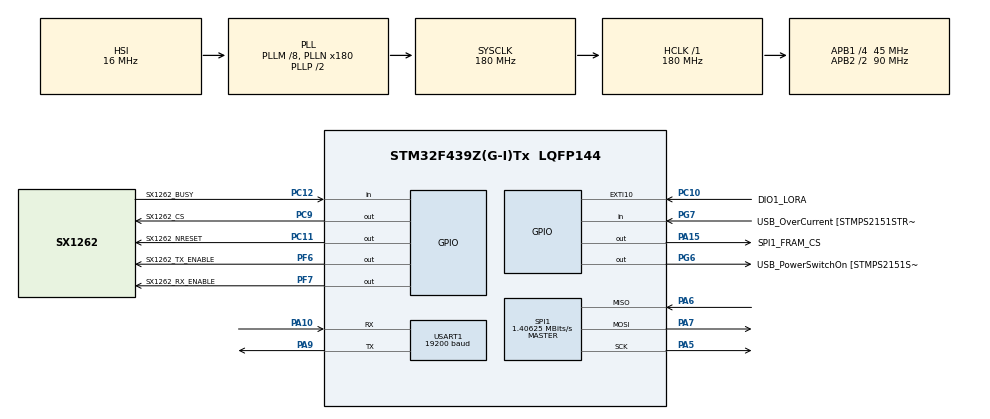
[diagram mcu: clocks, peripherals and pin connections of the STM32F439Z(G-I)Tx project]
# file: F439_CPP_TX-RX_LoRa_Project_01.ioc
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CRYP.Algorithm=CRYP_AES_CTR
CRYP.DataType=CRYP_DATATYPE_32B
CRYP.DataWidthUnit=CRYP_DATAWIDTHUNIT_BYTE
Mcu.Family=STM32F4
Mcu.Name=STM32F439Z(G-I)Tx
Mcu.Package=LQFP144
NVIC.EXTI15_10_IRQn=true\:0\:0\:false\:false\:true\:true\:true\:true
NVIC.PriorityGroup=NVIC_PRIORITYGROUP_4
PA10.Mode=Asynchronous
PA10.Signal=USART1_RX
PA15.GPIO_Label=SPI1_FRAM_CS
PA15.GPIO_PuPd=GPIO_PULLUP
PA15.GPIO_Speed=GPIO_SPEED_FREQ_VERY_HIGH
PA15.Signal=GPIO_Output
PA5.Mode=Full_Duplex_Master
PA5.Signal=SPI1_SCK
PA6.GPIO_PuPd=GPIO_NOPULL
PA6.Mode=Full_Duplex_Master
PA6.Signal=SPI1_MISO
PA7.Mode=Full_Duplex_Master
PA7.Signal=SPI1_MOSI
PA9.Mode=Asynchronous
PA9.Signal=USART1_TX
PC10.GPIO_Label=DIO1_LORA
PC10.Signal=GPXTI10
PC11.GPIO_Label=SX1262_NRESET
PC11.GPIO_PuPd=GPIO_NOPULL
PC11.GPIO_Speed=GPIO_SPEED_FREQ_VERY_HIGH
PC11.PinState=GPIO_PIN_SET
PC11.Signal=GPIO_Output
PC12.GPIO_Label=SX1262_BUSY
PC12.Signal=GPIO_Input
PC14/OSC32_IN.Mode=LSE-External-Oscillator
PC14/OSC32_IN.Signal=RCC_OSC32_IN
PC15/OSC32_OUT.Mode=LSE-External-Oscillator
PC15/OSC32_OUT.Signal=RCC_OSC32_OUT
PC9.GPIO_Label=SX1262_CS
PC9.GPIO_PuPd=GPIO_PULLUP
PC9.GPIO_Speed=GPIO_SPEED_FREQ_VERY_HIGH
PC9.Signal=GPIO_Output
PF6.GPIO_Label=SX1262_TX_ENABLE
PF6.GPIO_Speed=GPIO_SPEED_FREQ_VERY_HIGH
PF6.Signal=GPIO_Output
PF7.GPIO_Label=SX1262_RX_ENABLE
PF7.GPIO_Speed=GPIO_SPEED_FREQ_VERY_HIGH
PF7.Signal=GPIO_Output
PG6.GPIO_Label=USB_PowerSwitchOn [STMPS2151STR_EN]
PG6.Signal=GPIO_Output
PG7.GPIO_Label=USB_OverCurrent [STMPS2151STR_FAULT]
PG7.Signal=GPIO_Input
PH0/OSC_IN.GPIO_Label=MCO [STM32F103CBT6_PA8]
PH0/OSC_IN.Mode=HSE-External-Oscillator
PH0/OSC_IN.Signal=RCC_OSC_IN
PH1/OSC_OUT.Mode=HSE-External-Oscillator
PH1/OSC_OUT.Signal=RCC_OSC_OUT
ProjectManager.HeapSize=0x200
ProjectManager.StackSize=0x400
ProjectManager.TargetToolchain=STM32CubeIDE
RCC.48MHZClocksFreq_Value=90000000
RCC.AHBFreq_Value=180000000
RCC.APB1CLKDivider=RCC_HCLK_DIV4
RCC.APB1Freq_Value=45000000
RCC.APB1TimFreq_Value=90000000
RCC.APB2CLKDivider=RCC_HCLK_DIV2
RCC.APB2Freq_Value=90000000
RCC.APB2TimFreq_Value=180000000
RCC.CortexFreq_Value=180000000
RCC.HCLKFreq_Value=180000000
RCC.HSE_VALUE=8000000
RCC.HSI_VALUE=16000000
RCC.PLLM=8
RCC.PLLMUL=RCC_PLL_MUL9
RCC.PLLN=180
RCC.PRESCALERUSB=RCC_USBCLKSOURCE_PLL_DIV1_5
RCC.SYSCLKFreq_VALUE=180000000
RCC.SYSCLKSource=RCC_SYSCLKSOURCE_PLLCLK
RCC.SYSCLKSourceVirtual=RCC_SYSCLKSOURCE_PLLCLK
RCC.USBFreq_Value=48000000
RCC.VCOOutputFreq_Value=360000000
SPI1.BaudRatePrescaler=SPI_BAUDRATEPRESCALER_64
SPI1.CLKPhase=SPI_PHASE_1EDGE
SPI1.CLKPolarity=SPI_POLARITY_LOW
SPI1.CalculateBaudRate=1.40625 MBits/s
SPI1.Direction=SPI_DIRECTION_2LINES
SPI1.Mode=SPI_MODE_MASTER
SPI1.VirtualType=VM_MASTER
TIM3.Prescaler=90 - 1
USART1.BaudRate=19200
USART1.VirtualMode=VM_ASYNC
VP_CRYP_VS_CRYP.Mode=CRYP_Activate
VP_TIM3_VS_ClockSourceINT.Mode=Internal
board=NUCLEO-F439ZI

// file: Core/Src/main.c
/* USER CODE BEGIN Header */
/**
  ******************************************************************************
  * @file           : main.c
  * @brief          : Main program body
  ******************************************************************************
  * @attention
  *
  * Copyright (c) 2026 STMicroelectronics.
  * All rights reserved.
  *
  * This software is licensed under terms that can be found in the LICENSE file
  * in the root directory of this software component.
  * If no LICENSE file comes with this software, it is provided AS-IS.
  *
  ******************************************************************************
  */
/* USER CODE END Header */
#include "main.h"

/* USER CODE BEGIN Includes */
#include "sx1262.h"
#include "radio_app.h"
#include <sys/unistd.h>
#include <stdio.h>
#include <string.h>
#include "ada1897_mb85rs64b.h"
/* USER CODE END Includes */

CRYP_HandleTypeDef hcryp;
__ALIGN_BEGIN static const uint32_t pKeyCRYP[4] __ALIGN_END = {
                            0x00000000,0x00000000,0x00000000,0x00000000};
__ALIGN_BEGIN static const uint32_t pInitVectCRYP[4] __ALIGN_END = {
                            0x00000000,0x00000000,0x00000000,0x00000000};

SPI_HandleTypeDef hspi1;

TIM_HandleTypeDef htim3;

UART_HandleTypeDef huart1;

/* USER CODE BEGIN PV */
SX1262_Handle sx;
SX1262_ROLE sx1262Role;
/* USER CODE END PV */

void SystemClock_Config(void);
static void MX_GPIO_Init(void);
static void MX_SPI1_Init(void);
static void MX_USART1_UART_Init(void);
static void MX_TIM3_Init(void);
static void MX_CRYP_Init(void);

/* USER CODE BEGIN 0 */

int _write(int file, char *ptr, int len) {
    (void)file;

    if (ptr == NULL || len <= 0) {
        return 0;
    }

    /*
     * 19200 8N1 ≈ 1.92 bytes/ms, so ms ≈ len/2.
     * Clamp so printf can't stall the main loop for seconds.
     */
    uint32_t timeout = (uint32_t)(len / 2);
    if (timeout < 10U) {
        timeout = 10U;
    }
    if (timeout > 300U) {
        timeout = 300U;
    }

    if (HAL_UART_Transmit(&huart1, (uint8_t *)ptr, (uint16_t)len, timeout) != HAL_OK) {
        return 0;
    }

    return len;
}

void HAL_GPIO_EXTI_Callback(uint16_t pin) {
    RadioApp_OnDio1Exti(pin);
}

void delay_us (uint16_t us)
{
	__HAL_TIM_SET_COUNTER(&htim3, 0);  // set the counter value a 0
	while (__HAL_TIM_GET_COUNTER(&htim3) < us);  // wait for the counter to reach the us input in the parameter
}

/* USER CODE END 0 */

int main(void)
{

  /* MCU Configuration--------------------------------------------------------*/

  /* Reset of all peripherals, Initializes the Flash interface and the Systick. */
  HAL_Init();

  /* Configure the system clock */
  SystemClock_Config();

  /* Initialize all configured peripherals */
  MX_GPIO_Init();
  MX_SPI1_Init();
  MX_USART1_UART_Init();
  MX_TIM3_Init();
  MX_CRYP_Init();
  /* USER CODE BEGIN 2 */

  HAL_TIM_Base_Start_IT(&htim3);  // start the Timer3

  FRAM_init(&hspi1);

  printf("\x1b[2J\x1b[H");	// Clear the dumb terminal screen

#ifdef FRAM_INIT_EPOCH
	/* One-time init: clear storage region (start of FRAM map). */
	static uint8_t zeros[FRAM_INIT_BYTES];

	memset(zeros, 0x00, sizeof(zeros));
	FRAM_WriteBytes(FRAM_BASE_ADDR, zeros, sizeof(zeros));

	while(1) {};
#endif

  /* TODO: Fill these in from your UART prints (one-time) */
  const uint32_t RX_UID0 = 0x00280024U;
  const uint32_t RX_UID1 = 0x3133510aU;
  const uint32_t RX_UID2 = 0x36393739U;

  const uint32_t TX_UID0 = 0x002c003cU;
  const uint32_t TX_UID1 = 0x31335110U;
  const uint32_t TX_UID2 = 0x39323638U;

  uint32_t uid[3] = {0x00};

  uid[0] = HAL_GetUIDw0();
  uid[1] = HAL_GetUIDw1();
  uid[2] = HAL_GetUIDw2();

  printf("UID words: %08lx %08lx %08lx\r\n", uid[0], uid[1], uid[2]);

  if (uid[0] == RX_UID0 && uid[1] == RX_UID1 && uid[2] == RX_UID2) {
  	sx1262Role = SX_ROLE_RX;
  	printf("ROLE: RX\r\n");
  } else if (uid[0] == TX_UID0 && uid[1] == TX_UID1 && uid[2] == TX_UID2) {
  	sx1262Role = SX_ROLE_TX;
  	printf("ROLE: TX\r\n");
  } else {
  	printf("ROLE: UNKNOWN UID - refusing to start radio\r\n");
  	Error_Handler();
  }

  sx.hspi = &hspi1;
  sx.NSS_Port = GPIOC;  sx.NSS_Pin = GPIO_PIN_9;
  sx.DIO1_Port = GPIOC; sx.DIO1_Pin = GPIO_PIN_10;
  sx.RESET_Port = GPIOC; sx.RESET_Pin = GPIO_PIN_11;
  sx.BUSY_Port = GPIOC;  sx.BUSY_Pin = GPIO_PIN_12;
  sx.TXEN_Port = GPIOF;  sx.TXEN_Pin = GPIO_PIN_6;
  sx.RXEN_Port = GPIOF;  sx.RXEN_Pin = GPIO_PIN_7;

  HAL_GPIO_WritePin(GPIOC, GPIO_PIN_9, GPIO_PIN_SET);

  HAL_Delay(1);

  RadioApp_Init(&sx);

#ifdef RF_DEBUG
  uint8_t status = SX1262_GetStatusRaw(&sx);

  printf("SX1262 status=0x%02X\r\n", status);
#endif
  /* USER CODE END 2 */

  /* Infinite loop */
  /* USER CODE BEGIN WHILE */
  while (1)
  {
#ifdef RF_DEBUG
	  static uint32_t last_status_ms;

	  if ((HAL_GetTick() - last_status_ms) >= 1000U) {
	      uint8_t tx[2] = { 0xC0, 0x00 };
	      uint8_t rx[2] = { 0, 0 };

	      last_status_ms = HAL_GetTick();

	      HAL_GPIO_WritePin(GPIOC, GPIO_PIN_9, GPIO_PIN_RESET); /* CS low */
	      for (volatile int i = 0; i < 200; i++) { }
	      HAL_SPI_TransmitReceive(&hspi1, tx, rx, 2, 100);
	      HAL_GPIO_WritePin(GPIOC, GPIO_PIN_9, GPIO_PIN_SET);   /* CS high */

	      printf("GET_STATUS miso: %02X %02X\r\n", rx[0], rx[1]);
	  }
#endif

      RadioApp_Loop();
    /* USER CODE END WHILE */

  }
}

void SystemClock_Config(void)
{
  RCC_OscInitTypeDef RCC_OscInitStruct = {0};
  RCC_ClkInitTypeDef RCC_ClkInitStruct = {0};

  /** Configure the main internal regulator output voltage
  */
  __HAL_RCC_PWR_CLK_ENABLE();
  __HAL_PWR_VOLTAGESCALING_CONFIG(PWR_REGULATOR_VOLTAGE_SCALE1);

  /** Initializes the RCC Oscillators according to the specified parameters
  * in the RCC_OscInitTypeDef structure.
  */
  RCC_OscInitStruct.OscillatorType = RCC_OSCILLATORTYPE_HSI;
  RCC_OscInitStruct.HSIState = RCC_HSI_ON;
  RCC_OscInitStruct.HSICalibrationValue = RCC_HSICALIBRATION_DEFAULT;
  RCC_OscInitStruct.PLL.PLLState = RCC_PLL_ON;
  RCC_OscInitStruct.PLL.PLLSource = RCC_PLLSOURCE_HSI;
  RCC_OscInitStruct.PLL.PLLM = 8;
  RCC_OscInitStruct.PLL.PLLN = 180;
  RCC_OscInitStruct.PLL.PLLP = RCC_PLLP_DIV2;
  RCC_OscInitStruct.PLL.PLLQ = 4;
  if (HAL_RCC_OscConfig(&RCC_OscInitStruct) != HAL_OK)
  {
    Error_Handler();
  }

  /** Activate the Over-Drive mode
  */
  if (HAL_PWREx_EnableOverDrive() != HAL_OK)
  {
    Error_Handler();
  }

  /** Initializes the CPU, AHB and APB buses clocks
  */
  RCC_ClkInitStruct.ClockType = RCC_CLOCKTYPE_HCLK|RCC_CLOCKTYPE_SYSCLK
                              |RCC_CLOCKTYPE_PCLK1|RCC_CLOCKTYPE_PCLK2;
  RCC_ClkInitStruct.SYSCLKSource = RCC_SYSCLKSOURCE_PLLCLK;
  RCC_ClkInitStruct.AHBCLKDivider = RCC_SYSCLK_DIV1;
  RCC_ClkInitStruct.APB1CLKDivider = RCC_HCLK_DIV4;
  RCC_ClkInitStruct.APB2CLKDivider = RCC_HCLK_DIV2;

  if (HAL_RCC_ClockConfig(&RCC_ClkInitStruct, FLASH_LATENCY_5) != HAL_OK)
  {
    Error_Handler();
  }
}

static void MX_CRYP_Init(void)
{

  hcryp.Instance = CRYP;
  hcryp.Init.DataType = CRYP_DATATYPE_32B;
  hcryp.Init.KeySize = CRYP_KEYSIZE_128B;
  hcryp.Init.pKey = (uint32_t *)pKeyCRYP;
  hcryp.Init.pInitVect = (uint32_t *)pInitVectCRYP;
  hcryp.Init.Algorithm = CRYP_AES_CTR;
  hcryp.Init.DataWidthUnit = CRYP_DATAWIDTHUNIT_BYTE;
  if (HAL_CRYP_Init(&hcryp) != HAL_OK)
  {
    Error_Handler();
  }

}

static void MX_SPI1_Init(void)
{

  /* SPI1 parameter configuration*/
  hspi1.Instance = SPI1;
  hspi1.Init.Mode = SPI_MODE_MASTER;
  hspi1.Init.Direction = SPI_DIRECTION_2LINES;
  hspi1.Init.DataSize = SPI_DATASIZE_8BIT;
  hspi1.Init.CLKPolarity = SPI_POLARITY_LOW;
  hspi1.Init.CLKPhase = SPI_PHASE_1EDGE;
  hspi1.Init.NSS = SPI_NSS_SOFT;
  hspi1.Init.BaudRatePrescaler = SPI_BAUDRATEPRESCALER_64;
  hspi1.Init.FirstBit = SPI_FIRSTBIT_MSB;
  hspi1.Init.TIMode = SPI_TIMODE_DISABLE;
  hspi1.Init.CRCCalculation = SPI_CRCCALCULATION_DISABLE;
  hspi1.Init.CRCPolynomial = 10;
  if (HAL_SPI_Init(&hspi1) != HAL_OK)
  {
    Error_Handler();
  }

}

static void MX_TIM3_Init(void)
{

  TIM_ClockConfigTypeDef sClockSourceConfig = {0};
  TIM_MasterConfigTypeDef sMasterConfig = {0};

  htim3.Instance = TIM3;
  htim3.Init.Prescaler = 90 - 1;
  htim3.Init.CounterMode = TIM_COUNTERMODE_UP;
  htim3.Init.Period = 65535;
  htim3.Init.ClockDivision = TIM_CLOCKDIVISION_DIV1;
  htim3.Init.AutoReloadPreload = TIM_AUTORELOAD_PRELOAD_DISABLE;
  if (HAL_TIM_Base_Init(&htim3) != HAL_OK)
  {
    Error_Handler();
  }
  sClockSourceConfig.ClockSource = TIM_CLOCKSOURCE_INTERNAL;
  if (HAL_TIM_ConfigClockSource(&htim3, &sClockSourceConfig) != HAL_OK)
  {
    Error_Handler();
  }
  sMasterConfig.MasterOutputTrigger = TIM_TRGO_RESET;
  sMasterConfig.MasterSlaveMode = TIM_MASTERSLAVEMODE_DISABLE;
  if (HAL_TIMEx_MasterConfigSynchronization(&htim3, &sMasterConfig) != HAL_OK)
  {
    Error_Handler();
  }

}

static void MX_USART1_UART_Init(void)
{

  huart1.Instance = USART1;
  huart1.Init.BaudRate = 19200;
  huart1.Init.WordLength = UART_WORDLENGTH_8B;
  huart1.Init.StopBits = UART_STOPBITS_1;
  huart1.Init.Parity = UART_PARITY_NONE;
  huart1.Init.Mode = UART_MODE_TX_RX;
  huart1.Init.HwFlowCtl = UART_HWCONTROL_NONE;
  huart1.Init.OverSampling = UART_OVERSAMPLING_16;
  if (HAL_UART_Init(&huart1) != HAL_OK)
  {
    Error_Handler();
  }

}

static void MX_GPIO_Init(void)
{
  GPIO_InitTypeDef GPIO_InitStruct = {0};

  /* GPIO Ports Clock Enable */
  __HAL_RCC_GPIOC_CLK_ENABLE();
  __HAL_RCC_GPIOF_CLK_ENABLE();
  __HAL_RCC_GPIOH_CLK_ENABLE();
  __HAL_RCC_GPIOA_CLK_ENABLE();
  __HAL_RCC_GPIOG_CLK_ENABLE();

  /*Configure GPIO pin Output Level */
  HAL_GPIO_WritePin(GPIOF, SX1262_TX_ENABLE_Pin|SX1262_RX_ENABLE_Pin, GPIO_PIN_RESET);

  /*Configure GPIO pin Output Level */
  HAL_GPIO_WritePin(USB_PowerSwitchOn_GPIO_Port, USB_PowerSwitchOn_Pin, GPIO_PIN_RESET);

  /*Configure GPIO pin Output Level */
  HAL_GPIO_WritePin(SX1262_CS_GPIO_Port, SX1262_CS_Pin, GPIO_PIN_RESET);

  /*Configure GPIO pin Output Level */
  HAL_GPIO_WritePin(SPI1_FRAM_CS_GPIO_Port, SPI1_FRAM_CS_Pin, GPIO_PIN_RESET);

  /*Configure GPIO pin Output Level */
  HAL_GPIO_WritePin(SX1262_NRESET_GPIO_Port, SX1262_NRESET_Pin, GPIO_PIN_SET);

  /*Configure GPIO pins : SX1262_TX_ENABLE_Pin SX1262_RX_ENABLE_Pin */
  GPIO_InitStruct.Pin = SX1262_TX_ENABLE_Pin|SX1262_RX_ENABLE_Pin;
  GPIO_InitStruct.Mode = GPIO_MODE_OUTPUT_PP;
  GPIO_InitStruct.Pull = GPIO_NOPULL;
  GPIO_InitStruct.Speed = GPIO_SPEED_FREQ_VERY_HIGH;
  HAL_GPIO_Init(GPIOF, &GPIO_InitStruct);

  /*Configure GPIO pin : USB_PowerSwitchOn_Pin */
  GPIO_InitStruct.Pin = USB_PowerSwitchOn_Pin;
  GPIO_InitStruct.Mode = GPIO_MODE_OUTPUT_PP;
  GPIO_InitStruct.Pull = GPIO_NOPULL;
  GPIO_InitStruct.Speed = GPIO_SPEED_FREQ_LOW;
  HAL_GPIO_Init(USB_PowerSwitchOn_GPIO_Port, &GPIO_InitStruct);

  /*Configure GPIO pin : USB_OverCurrent_Pin */
  GPIO_InitStruct.Pin = USB_OverCurrent_Pin;
  GPIO_InitStruct.Mode = GPIO_MODE_INPUT;
  GPIO_InitStruct.Pull = GPIO_NOPULL;
  HAL_GPIO_Init(USB_OverCurrent_GPIO_Port, &GPIO_InitStruct);

  /*Configure GPIO pin : SX1262_CS_Pin */
  GPIO_InitStruct.Pin = SX1262_CS_Pin;
  GPIO_InitStruct.Mode = GPIO_MODE_OUTPUT_PP;
  GPIO_InitStruct.Pull = GPIO_PULLUP;
  GPIO_InitStruct.Speed = GPIO_SPEED_FREQ_VERY_HIGH;
  HAL_GPIO_Init(SX1262_CS_GPIO_Port, &GPIO_InitStruct);

  /*Configure GPIO pin : SPI1_FRAM_CS_Pin */
  GPIO_InitStruct.Pin = SPI1_FRAM_CS_Pin;
  GPIO_InitStruct.Mode = GPIO_MODE_OUTPUT_PP;
  GPIO_InitStruct.Pull = GPIO_PULLUP;
  GPIO_InitStruct.Speed = GPIO_SPEED_FREQ_VERY_HIGH;
  HAL_GPIO_Init(SPI1_FRAM_CS_GPIO_Port, &GPIO_InitStruct);

  /*Configure GPIO pin : DIO1_LORA_Pin */
  GPIO_InitStruct.Pin = DIO1_LORA_Pin;
  GPIO_InitStruct.Mode = GPIO_MODE_IT_RISING;
  GPIO_InitStruct.Pull = GPIO_NOPULL;
  HAL_GPIO_Init(DIO1_LORA_GPIO_Port, &GPIO_InitStruct);

  /*Configure GPIO pin : SX1262_NRESET_Pin */
  GPIO_InitStruct.Pin = SX1262_NRESET_Pin;
  GPIO_InitStruct.Mode = GPIO_MODE_OUTPUT_PP;
  GPIO_InitStruct.Pull = GPIO_NOPULL;
  GPIO_InitStruct.Speed = GPIO_SPEED_FREQ_VERY_HIGH;
  HAL_GPIO_Init(SX1262_NRESET_GPIO_Port, &GPIO_InitStruct);

  /*Configure GPIO pin : SX1262_BUSY_Pin */
  GPIO_InitStruct.Pin = SX1262_BUSY_Pin;
  GPIO_InitStruct.Mode = GPIO_MODE_INPUT;
  GPIO_InitStruct.Pull = GPIO_NOPULL;
  HAL_GPIO_Init(SX1262_BUSY_GPIO_Port, &GPIO_InitStruct);

  /* EXTI interrupt init*/
  HAL_NVIC_SetPriority(EXTI15_10_IRQn, 0, 0);
  HAL_NVIC_EnableIRQ(EXTI15_10_IRQn);

}

/* USER CODE BEGIN 4 */

/**
 * @brief  This function is executed in case of error occurrence.
 * @param  file: The file name as string.
 * @param  line: The line in file as a number.
 * @retval None
 */
void _Error_Handler(const char *file, int line)
{
	/* USER CODE BEGIN Error_Handler_Debug */
	__disable_irq();
#ifdef REDIRECT_PRINTF
	char buf[80];
	snprintf(buf, sizeof(buf), "Trapped in _Error_Handler().  Called from: %s, line: %d\r\n", file, line);
	printf(buf);
#endif
	/* User can add his own implementation to report the HAL error return state */
	while(1)
	{
	}
}

/* USER CODE END 4 */
